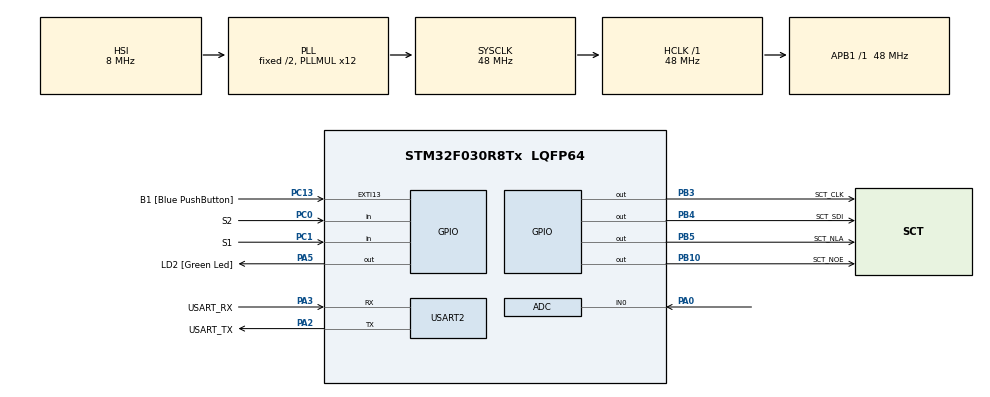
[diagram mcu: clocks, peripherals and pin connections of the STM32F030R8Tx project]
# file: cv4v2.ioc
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ADC.ContinuousConvMode=ENABLE
ADC.Overrun=ADC_OVR_DATA_OVERWRITTEN
ADC.SamplingTime=ADC_SAMPLETIME_239CYCLES_5
Mcu.Family=STM32F0
Mcu.Name=STM32F030R8Tx
Mcu.Package=LQFP64
NVIC.ADC1_IRQn=true\:0\:0\:false\:false\:true\:true\:true
PA0.Mode=IN0
PA0.Signal=ADC_IN0
PA13.GPIO_Label=TMS
PA13.Mode=Serial_Wire
PA13.Signal=SYS_SWDIO
PA14.GPIO_Label=TCK
PA14.Mode=Serial_Wire
PA14.Signal=SYS_SWCLK
PA2.GPIO_Label=USART_TX
PA2.GPIO_Mode=GPIO_MODE_AF_PP
PA2.GPIO_PuPd=GPIO_NOPULL
PA2.GPIO_Speed=GPIO_SPEED_FREQ_LOW
PA2.Mode=Asynchronous
PA2.Signal=USART2_TX
PA3.GPIO_Label=USART_RX
PA3.GPIO_Mode=GPIO_MODE_AF_PP
PA3.GPIO_PuPd=GPIO_NOPULL
PA3.GPIO_Speed=GPIO_SPEED_FREQ_LOW
PA3.Mode=Asynchronous
PA3.Signal=USART2_RX
PA5.GPIO_Label=LD2 [Green Led]
PA5.GPIO_Mode=GPIO_MODE_OUTPUT_PP
PA5.GPIO_PuPd=GPIO_NOPULL
PA5.GPIO_Speed=GPIO_SPEED_FREQ_LOW
PA5.Signal=GPIO_Output
PB10.GPIO_Label=SCT_NOE
PB10.Signal=GPIO_Output
PB3.GPIO_Label=SCT_CLK
PB3.Signal=GPIO_Output
PB4.GPIO_Label=SCT_SDI
PB4.Signal=GPIO_Output
PB5.GPIO_Label=SCT_NLA
PB5.Signal=GPIO_Output
PC0.GPIO_Label=S2
PC0.GPIO_PuPd=GPIO_PULLUP
PC0.Signal=GPIO_Input
PC1.GPIO_Label=S1
PC1.GPIO_PuPd=GPIO_PULLUP
PC1.Signal=GPIO_Input
PC13.GPIO_Label=B1 [Blue PushButton]
PC13.GPIO_ModeDefaultEXTI=GPIO_MODE_IT_FALLING
PC13.Signal=GPXTI13
PC14-OSC32_IN.Mode=LSE-External-Oscillator
PC14-OSC32_IN.Signal=RCC_OSC32_IN
PC15-OSC32_OUT.Mode=LSE-External-Oscillator
PC15-OSC32_OUT.Signal=RCC_OSC32_OUT
PF0-OSC_IN.Mode=HSE-External-Clock-Source
PF0-OSC_IN.Signal=RCC_OSC_IN
PF1-OSC_OUT.Signal=RCC_OSC_OUT
ProjectManager.HeapSize=0x200
ProjectManager.StackSize=0x400
ProjectManager.TargetToolchain=STM32CubeIDE
RCC.AHBFreq_Value=48000000
RCC.APB1Freq_Value=48000000
RCC.APB1TimFreq_Value=48000000
RCC.HCLKFreq_Value=48000000
RCC.PLLMUL=RCC_PLL_MUL12
RCC.SYSCLKFreq_VALUE=48000000
RCC.SYSCLKSource=RCC_SYSCLKSOURCE_PLLCLK
USART2.VirtualMode-Asynchronous=VM_ASYNC
VP_ADC_TempSens_Input.Mode=IN-TempSens
VP_ADC_Vref_Input.Mode=IN-Vrefint
board=NUCLEO-F030R8

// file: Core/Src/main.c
/* USER CODE BEGIN Header */
/**
  ******************************************************************************
  * @file           : main.c
  * @brief          : Main program body
  ******************************************************************************
  * @attention
  *
  * <h2><center>&copy; Copyright (c) 2021 STMicroelectronics.
  * All rights reserved.</center></h2>
  *
  * This software component is licensed by ST under BSD 3-Clause license,
  * the "License"; You may not use this file except in compliance with the
  * License. You may obtain a copy of the License at:
  *                        opensource.org/licenses/BSD-3-Clause
  *
  ******************************************************************************
  */
/* USER CODE END Header */
#include "main.h"
#include <stdbool.h>

/* USER CODE BEGIN Includes */
#include "sct.h"
/* USER CODE END Includes */

/* USER CODE BEGIN PD */
#define ADC_Q 14
#define TEMP110_CAL_ADDR ((uint16_t*) ((uint32_t) 0x1FFFF7C2))
#define TEMP30_CAL_ADDR ((uint16_t*) ((uint32_t) 0x1FFFF7B8))
#define VREFINT_CAL_ADDR ((uint16_t*) ((uint32_t) 0x1FFFF7BA))
#define DSPL_TIME 2000
/* USER CODE END PD */

ADC_HandleTypeDef hadc;

UART_HandleTypeDef huart2;

/* USER CODE BEGIN PV */
static volatile uint32_t raw_pot;
static volatile uint32_t raw_temp;
static volatile uint32_t raw_volt;
/* USER CODE END PV */

void SystemClock_Config(void);
static void MX_GPIO_Init(void);
static void MX_USART2_UART_Init(void);
static void MX_ADC_Init(void);

/* USER CODE BEGIN 0 */
void HAL_ADC_ConvCpltCallback(ADC_HandleTypeDef* hadc)
{
	static uint32_t avg_pot;
	static uint8_t channel;

	if(channel == 0){
		raw_pot = avg_pot >> ADC_Q;
		avg_pot -= raw_pot;
		avg_pot += HAL_ADC_GetValue(hadc);
	}else if(channel == 1){
		raw_temp = HAL_ADC_GetValue(hadc);
	}else if(channel == 2){
		raw_volt = HAL_ADC_GetValue(hadc);
	}

	if (__HAL_ADC_GET_FLAG(hadc, ADC_FLAG_EOS)) channel = 0;
	else channel++;
}

/* USER CODE END 0 */

int main(void)
{

  /* MCU Configuration--------------------------------------------------------*/

  /* Reset of all peripherals, Initializes the Flash interface and the Systick. */
  HAL_Init();

  /* Configure the system clock */
  SystemClock_Config();

  /* Initialize all configured peripherals */
  MX_GPIO_Init();
  MX_USART2_UART_Init();
  MX_ADC_Init();
  /* USER CODE BEGIN 2 */
  sct_init();
  HAL_ADCEx_Calibration_Start(&hadc);
  HAL_ADC_Start_IT(&hadc);
  /* USER CODE END 2 */

  /* Infinite loop */
  while (1)
  {

	  /* USER CODE BEGIN 3 */
	  static enum { SHOW_POT, SHOW_VOLT, SHOW_TEMP } state = SHOW_POT;
	  uint8_t bargraf;
	  uint32_t value;
	  int32_t temperature;
	  uint32_t voltage;
	  uint32_t delay;

	  switch(state){
	  case SHOW_POT :

		  bargraf = (raw_pot*(8+1))/(4095);
		  value = (raw_pot*(500+1))/(4095);
		  sct_value(value, bargraf);
		  HAL_Delay(50);

		  break;
	  case SHOW_TEMP :

		  temperature = (raw_temp - (int32_t)(*TEMP30_CAL_ADDR));
		  temperature = temperature * (int32_t)(110 - 30);
		  temperature = temperature / (int32_t)(*TEMP110_CAL_ADDR - *TEMP30_CAL_ADDR);
		  temperature = temperature + 30;
		  sct_value(temperature, 0);

		  break;
	  case SHOW_VOLT :

		  voltage = 330 * (*VREFINT_CAL_ADDR) / raw_volt;
		  sct_value(voltage, 0);

		  break;
	  }

	  if(HAL_GPIO_ReadPin(S1_GPIO_Port,S1_Pin) == 0){
		  state = SHOW_TEMP;
		  delay = HAL_GetTick();

	  }else if(HAL_GPIO_ReadPin(S2_GPIO_Port,S2_Pin) == 0){
		  state = SHOW_VOLT;
		  delay = HAL_GetTick();
	  }

	  if(HAL_GetTick() > delay + DSPL_TIME){
		  state = SHOW_POT;
		  delay = HAL_GetTick();
	  }

  }
  /* USER CODE END 3 */
}

void SystemClock_Config(void)
{
  RCC_OscInitTypeDef RCC_OscInitStruct = {0};
  RCC_ClkInitTypeDef RCC_ClkInitStruct = {0};

  /** Initializes the RCC Oscillators according to the specified parameters
  * in the RCC_OscInitTypeDef structure.
  */
  RCC_OscInitStruct.OscillatorType = RCC_OSCILLATORTYPE_HSI|RCC_OSCILLATORTYPE_HSI14;
  RCC_OscInitStruct.HSIState = RCC_HSI_ON;
  RCC_OscInitStruct.HSI14State = RCC_HSI14_ON;
  RCC_OscInitStruct.HSICalibrationValue = RCC_HSICALIBRATION_DEFAULT;
  RCC_OscInitStruct.HSI14CalibrationValue = 16;
  RCC_OscInitStruct.PLL.PLLState = RCC_PLL_ON;
  RCC_OscInitStruct.PLL.PLLSource = RCC_PLLSOURCE_HSI;
  RCC_OscInitStruct.PLL.PLLMUL = RCC_PLL_MUL12;
  RCC_OscInitStruct.PLL.PREDIV = RCC_PREDIV_DIV1;
  if (HAL_RCC_OscConfig(&RCC_OscInitStruct) != HAL_OK)
  {
    Error_Handler();
  }
  /** Initializes the CPU, AHB and APB buses clocks
  */
  RCC_ClkInitStruct.ClockType = RCC_CLOCKTYPE_HCLK|RCC_CLOCKTYPE_SYSCLK
                              |RCC_CLOCKTYPE_PCLK1;
  RCC_ClkInitStruct.SYSCLKSource = RCC_SYSCLKSOURCE_PLLCLK;
  RCC_ClkInitStruct.AHBCLKDivider = RCC_SYSCLK_DIV1;
  RCC_ClkInitStruct.APB1CLKDivider = RCC_HCLK_DIV1;

  if (HAL_RCC_ClockConfig(&RCC_ClkInitStruct, FLASH_LATENCY_1) != HAL_OK)
  {
    Error_Handler();
  }
}

static void MX_ADC_Init(void)
{

  ADC_ChannelConfTypeDef sConfig = {0};

  /** Configure the global features of the ADC (Clock, Resolution, Data Alignment and number of conversion)
  */
  hadc.Instance = ADC1;
  hadc.Init.ClockPrescaler = ADC_CLOCK_ASYNC_DIV1;
  hadc.Init.Resolution = ADC_RESOLUTION_12B;
  hadc.Init.DataAlign = ADC_DATAALIGN_RIGHT;
  hadc.Init.ScanConvMode = ADC_SCAN_DIRECTION_FORWARD;
  hadc.Init.EOCSelection = ADC_EOC_SINGLE_CONV;
  hadc.Init.LowPowerAutoWait = DISABLE;
  hadc.Init.LowPowerAutoPowerOff = DISABLE;
  hadc.Init.ContinuousConvMode = ENABLE;
  hadc.Init.DiscontinuousConvMode = DISABLE;
  hadc.Init.ExternalTrigConv = ADC_SOFTWARE_START;
  hadc.Init.ExternalTrigConvEdge = ADC_EXTERNALTRIGCONVEDGE_NONE;
  hadc.Init.DMAContinuousRequests = DISABLE;
  hadc.Init.Overrun = ADC_OVR_DATA_OVERWRITTEN;
  if (HAL_ADC_Init(&hadc) != HAL_OK)
  {
    Error_Handler();
  }
  /** Configure for the selected ADC regular channel to be converted.
  */
  sConfig.Channel = ADC_CHANNEL_0;
  sConfig.Rank = ADC_RANK_CHANNEL_NUMBER;
  sConfig.SamplingTime = ADC_SAMPLETIME_239CYCLES_5;
  if (HAL_ADC_ConfigChannel(&hadc, &sConfig) != HAL_OK)
  {
    Error_Handler();
  }
  /** Configure for the selected ADC regular channel to be converted.
  */
  sConfig.Channel = ADC_CHANNEL_TEMPSENSOR;
  if (HAL_ADC_ConfigChannel(&hadc, &sConfig) != HAL_OK)
  {
    Error_Handler();
  }
  /** Configure for the selected ADC regular channel to be converted.
  */
  sConfig.Channel = ADC_CHANNEL_VREFINT;
  if (HAL_ADC_ConfigChannel(&hadc, &sConfig) != HAL_OK)
  {
    Error_Handler();
  }

}

static void MX_USART2_UART_Init(void)
{

  huart2.Instance = USART2;
  huart2.Init.BaudRate = 38400;
  huart2.Init.WordLength = UART_WORDLENGTH_8B;
  huart2.Init.StopBits = UART_STOPBITS_1;
  huart2.Init.Parity = UART_PARITY_NONE;
  huart2.Init.Mode = UART_MODE_TX_RX;
  huart2.Init.HwFlowCtl = UART_HWCONTROL_NONE;
  huart2.Init.OverSampling = UART_OVERSAMPLING_16;
  huart2.Init.OneBitSampling = UART_ONE_BIT_SAMPLE_DISABLE;
  huart2.AdvancedInit.AdvFeatureInit = UART_ADVFEATURE_NO_INIT;
  if (HAL_UART_Init(&huart2) != HAL_OK)
  {
    Error_Handler();
  }

}

static void MX_GPIO_Init(void)
{
  GPIO_InitTypeDef GPIO_InitStruct = {0};

  /* GPIO Ports Clock Enable */
  __HAL_RCC_GPIOC_CLK_ENABLE();
  __HAL_RCC_GPIOF_CLK_ENABLE();
  __HAL_RCC_GPIOA_CLK_ENABLE();
  __HAL_RCC_GPIOB_CLK_ENABLE();

  /*Configure GPIO pin Output Level */
  HAL_GPIO_WritePin(LD2_GPIO_Port, LD2_Pin, GPIO_PIN_RESET);

  /*Configure GPIO pin Output Level */
  HAL_GPIO_WritePin(GPIOB, SCT_NOE_Pin|SCT_CLK_Pin|SCT_SDI_Pin|SCT_NLA_Pin, GPIO_PIN_RESET);

  /*Configure GPIO pin : B1_Pin */
  GPIO_InitStruct.Pin = B1_Pin;
  GPIO_InitStruct.Mode = GPIO_MODE_IT_FALLING;
  GPIO_InitStruct.Pull = GPIO_NOPULL;
  HAL_GPIO_Init(B1_GPIO_Port, &GPIO_InitStruct);

  /*Configure GPIO pins : S2_Pin S1_Pin */
  GPIO_InitStruct.Pin = S2_Pin|S1_Pin;
  GPIO_InitStruct.Mode = GPIO_MODE_INPUT;
  GPIO_InitStruct.Pull = GPIO_PULLUP;
  HAL_GPIO_Init(GPIOC, &GPIO_InitStruct);

  /*Configure GPIO pin : LD2_Pin */
  GPIO_InitStruct.Pin = LD2_Pin;
  GPIO_InitStruct.Mode = GPIO_MODE_OUTPUT_PP;
  GPIO_InitStruct.Pull = GPIO_NOPULL;
  GPIO_InitStruct.Speed = GPIO_SPEED_FREQ_LOW;
  HAL_GPIO_Init(LD2_GPIO_Port, &GPIO_InitStruct);

  /*Configure GPIO pins : SCT_NOE_Pin SCT_CLK_Pin SCT_SDI_Pin SCT_NLA_Pin */
  GPIO_InitStruct.Pin = SCT_NOE_Pin|SCT_CLK_Pin|SCT_SDI_Pin|SCT_NLA_Pin;
  GPIO_InitStruct.Mode = GPIO_MODE_OUTPUT_PP;
  GPIO_InitStruct.Pull = GPIO_NOPULL;
  GPIO_InitStruct.Speed = GPIO_SPEED_FREQ_LOW;
  HAL_GPIO_Init(GPIOB, &GPIO_InitStruct);

}

void Error_Handler(void)
{
  __disable_irq();
  while (1)
  {
  }
}

/************************ (C) COPYRIGHT STMicroelectronics *****END OF FILE****/
